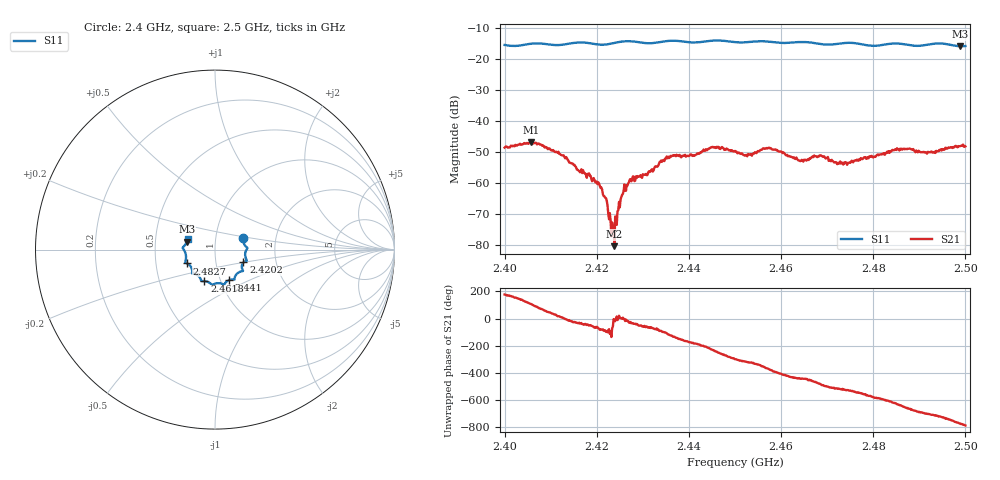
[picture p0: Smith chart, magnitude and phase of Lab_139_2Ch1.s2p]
# Hz S RI R 50
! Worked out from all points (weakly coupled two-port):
!   601 points, 2.4 GHz to 2.5 GHz, reference 50 ohm
!   highest |S21| = -46.70 dB at 2.4057 GHz (marker M1); lowest = -80.3 dB at 2.4238 GHz (marker M2)
!   lowest |S11| = -15.8 dB at 2.4988 GHz (marker M3), VSWR 1.39, Z = 36.4 + j3.3 ohm
!   |S11| at or under -10 dB: start of sweep to end of sweep
!   S12 and S22 are empty: the file has one direction only
!   S11 on the Smith chart (normalised r, x): 2.4 GHz: 1.36, +0.18; 2.4202 GHz: 1.36, -0.20; 2.441 GHz: 1.10, -0.39; 2.4618 GHz: 0.84, -0.30; 2.4827 GHz: 0.72, -0.11; 2.5 GHz: 0.73, +0.09
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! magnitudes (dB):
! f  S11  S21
! 2.4 GHz  -15.4  -48.5
! 2.4057 GHz  -15.0  -46.7
! 2.4117 GHz  -15.4  -49.8
! 2.4167 GHz  -14.5  -55.5
! 2.4202 GHz  -15.2  -60.3
! 2.4218 GHz  -15.2  -64.6
! 2.4233 GHz  -14.9  -72.7
! 2.4238 GHz  -14.7  -80.3
! 2.4257 GHz  -14.2  -63.4
! 2.4273 GHz  -14.2  -58.6
! 2.4333 GHz  -14.5  -54.3
! 2.441 GHz  -14.6  -50.9
! 2.4452 GHz  -14.0  -48.2
! 2.45 GHz  -14.4  -49.5
! 2.4573 GHz  -14.3  -48.5
! 2.4618 GHz  -14.6  -51.2
! 2.4667 GHz  -14.6  -51.6
! 2.474 GHz  -14.7  -53.2
! 2.4827 GHz  -15.2  -50.2
! 2.4833 GHz  -15.0  -49.6
! 2.4988 GHz  -15.8  -48.0
! 2.5 GHz  -15.7  -48.1
